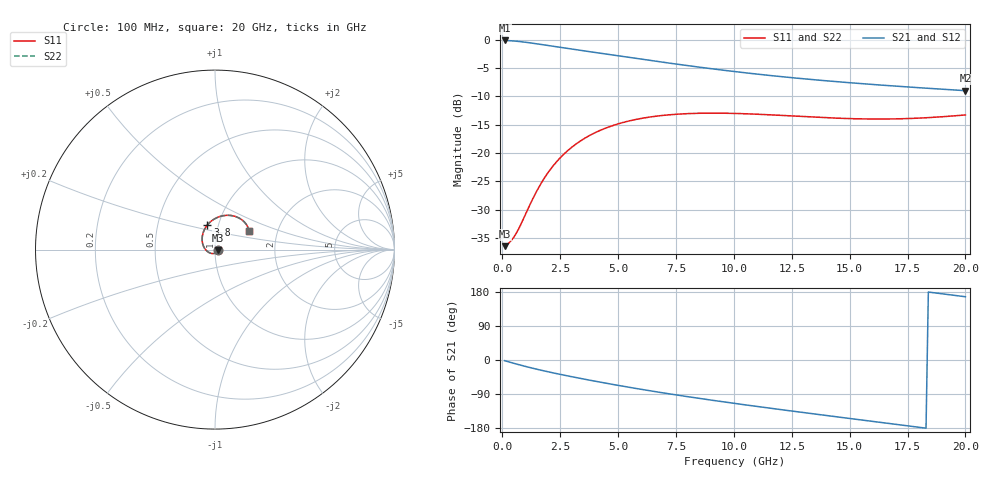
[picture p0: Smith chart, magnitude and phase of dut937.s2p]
! Touchstone file exported from HFSS 2024.1.0
!  File:  C:/UserFiles/LocalFiles/RDL_TSV_Batchsim/temp_RDL_TSV_937_1779962110.aedt
!  Generated:  06:09:29 PM May 28, 2026
!  Design:  RDL_TSV
!  Project:  temp_RDL_TSV_937_1779962110
!  Setup:  Setup1
!  Solution:  Sweep
! Variables:
!  dtsv = 14.93um
!  hbump = 3um
!  htsv = 76.25um
!  ldown = 602.34um
!  lrdl = 161.17um
!  p = 40
!  p1 = 42.31um
!  rhole = 10um
!  subl = 2451.7um
!  t = 450um
!  tdown = 4.44um
!  trdl = 3.17um
!  viad = 10um
!  wdown = 11.95um
!  wrdl = 29.12um
!  xbump = 18um
# GHz S MA R 50.000000
! Terminal data exported
! Port[1] = TM1_1_T1
! Port[2] = TM1_4_T1
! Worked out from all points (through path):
!   200 points, 100 MHz to 20 GHz, reference 50 ohm
!   highest |S21| = -0.14 dB at 100 MHz (marker M1); lowest = -9.0 dB at 20 GHz (marker M2)
!   group delay of S21, straight-line fit = 25.3 ps
!   lowest |S11| = -36.4 dB at 100 MHz (marker M3), VSWR 1.03, Z = 51.5 - j0.354 ohm
!   |S11| at or under -10 dB: start of sweep to end of sweep
!   |S22| runs from -36.4 to -13.0 dB; largest |S21 - S12| = 1.3e-14
!   S11 on the Smith chart (normalised r, x): 100 MHz: 1.03, -0.01; 3.8 GHz: 0.89, +0.25; 20 GHz: 1.43, +0.31
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0.1  0.01505 -13.2  0.9845 -1.8  0.9845 -1.8  0.01505 -13.2
! Gamma 0 0 0 0
! Port Impedance 50 0 50 0
0.4  0.01701 -55.8  0.9775 -7.1  0.9775 -7.1  0.01701 -55.8
0.6  0.01951 -84.2  0.9699 -10.5  0.9699 -10.5  0.01952 -84.2
1  0.02868 -131.4  0.9497 -17.0  0.9497 -17.0  0.02868 -131.4
1.5  0.04665 -171.2  0.9189 -24.5  0.9189 -24.5  0.04661 -171.2
2  0.06822 162.1  0.8867 -31.4  0.8867 -31.4  0.06814 162.1
2.3  0.0817 149.6  0.8679 -35.4  0.8679 -35.4  0.08158 149.6
2.7  0.09949 135.7  0.8437 -40.4  0.8437 -40.4  0.09934 135.7
3.5  0.1326 113.9  0.7984 -50.1  0.7984 -50.1  0.1324 113.9
3.8  0.1438 107.2  0.7822 -53.6  0.7822 -53.6  0.1435 107.2
4.5  0.1669 93.6  0.7458 -61.5  0.7458 -61.5  0.1665 93.6
5.2  0.1856 82.2  0.7111 -69.1  0.7111 -69.1  0.1852 82.2
6  0.2019 71.3  0.6735 -77.4  0.6735 -77.4  0.2014 71.3
6.8  0.2132 62.1  0.6383 -85.4  0.6383 -85.4  0.2127 62.0
8.4  0.2239 47.6  0.5759 -100.3  0.5759 -100.3  0.2234 47.6
10.1  0.2233 36.8  0.5213 -115.1  0.5213 -115.1  0.2226 36.8
11.7  0.2165 30.2  0.4798 -128.3  0.4798 -128.3  0.2159 30.2
13.4  0.2076 26.3  0.4443 -141.8  0.4443 -141.8  0.2069 26.3
15  0.2011 25.2  0.4171 -154.3  0.4171 -154.3  0.2005 25.2
16.7  0.1995 25.9  0.3929 -167.5  0.3929 -167.5  0.1989 26.0
18.3  0.2046 27.3  0.3733 -179.9  0.3733 -179.9  0.204 27.4
20  0.2167 28.2  0.3548 166.9  0.3548 166.9  0.2162 28.3
